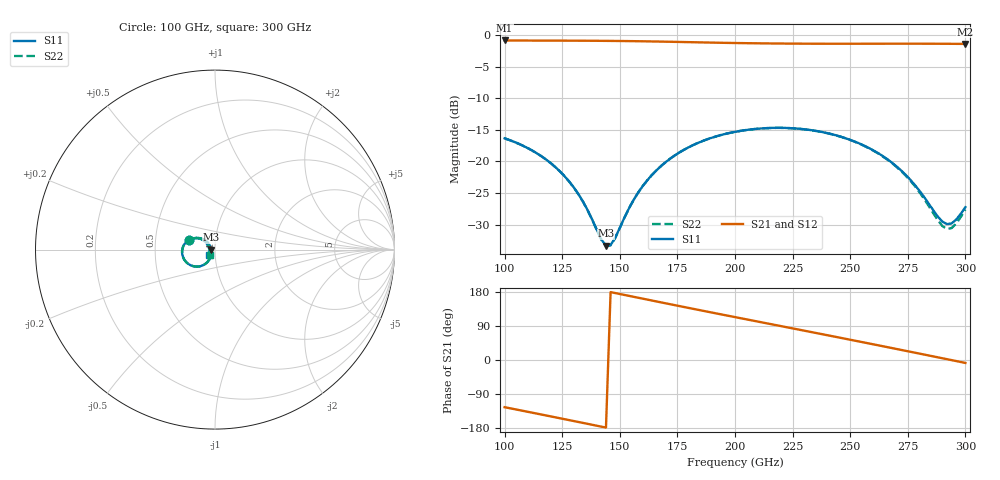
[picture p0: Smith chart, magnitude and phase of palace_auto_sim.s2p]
#  GHZ S DB R 50
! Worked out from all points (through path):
!   101 points, 100 GHz to 300 GHz, reference 50 ohm
!   highest |S21| = -0.88 dB at 100 GHz (marker M1); lowest = -1.4 dB at 300 GHz (marker M2)
!   group delay of S21, straight-line fit = 3.37 ps
!   lowest |S11| = -33.3 dB at 144 GHz (marker M3), VSWR 1.04, Z = 47.9 - j0.00424 ohm
!   |S11| at or under -10 dB: start of sweep to end of sweep
!   |S22| runs from -33.4 to -14.7 dB; largest |S21 - S12| = 9.8e-14
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100  -16.36 160.2  -0.88 -124.5  -0.88 -124.5  -16.36 160.1
110  -17.89 149.8  -0.89 -136.6  -0.89 -136.6  -17.90 149.6
120  -20.27 140.8  -0.90 -148.8  -0.90 -148.8  -20.28 140.6
128  -23.17 136.3  -0.91 -158.6  -0.91 -158.6  -23.18 136.1
134  -26.35 137.4  -0.92 -166.0  -0.92 -166.0  -26.37 137.2
142  -32.35 163.2  -0.94 -175.9  -0.94 -175.9  -32.41 163.1
144  -33.34 -179.9  -0.94 -178.4  -0.94 -178.4  -33.41 -179.9
146  -33.23 -160.8  -0.95 179.2  -0.95 179.2  -33.29 -160.6
148  -32.09 -144.7  -0.96 176.7  -0.96 176.7  -32.13 -144.5
158  -24.92 -120.0  -1.00 164.3  -1.00 164.3  -24.92 -119.9
168  -20.70 -123.3  -1.06 152.0  -1.06 152.0  -20.70 -123.3
182  -17.39 -135.5  -1.16 134.8  -1.16 134.8  -17.39 -135.6
200  -15.33 -153.6  -1.28 113.2  -1.28 113.2  -15.33 -153.8
218  -14.70 -171.8  -1.36 91.8  -1.36 91.8  -14.70 -172.1
234  -15.11 172.1  -1.39 72.7  -1.39 72.7  -15.12 171.7
252  -16.87 155.0  -1.40 51.1  -1.40 51.1  -16.90 154.4
268  -20.17 143.3  -1.39 31.7  -1.39 31.7  -20.24 142.1
278  -23.70 142.1  -1.39 19.4  -1.39 19.4  -23.88 140.4
288  -28.72 161.7  -1.40 7.1  -1.40 7.1  -29.30 159.9
292  -29.93 -177.2  -1.40 2.2  -1.40 2.2  -30.70 -177.0
296  -29.22 -154.4  -1.41 -2.8  -1.41 -2.8  -29.84 -151.9
300  -27.24 -139.3  -1.43 -7.7  -1.43 -7.7  -27.61 -136.3
